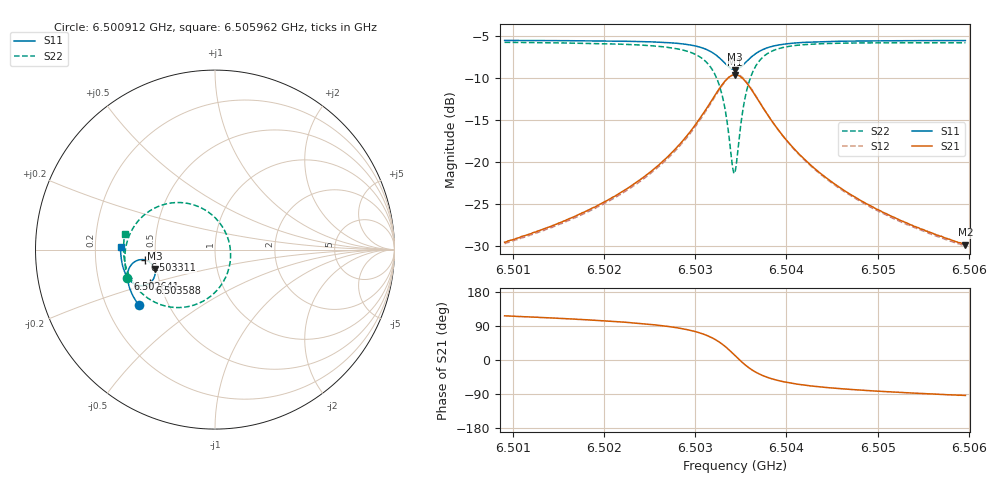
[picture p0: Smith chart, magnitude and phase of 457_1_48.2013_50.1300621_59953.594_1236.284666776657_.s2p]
#  HZ  S  RI  R  50.00
! Rohde & Schwarz Vector Network Analyzer
! Rohde-Schwarz,ZNB20-2Port,1311601062101988,3.16
! Created: UTC 3/20/2024, 11:56:34 AM
! freq[Hz]  re:S11  im:S11  re:S21  im:S21  re:S12  im:S12  re:S22  im:S22
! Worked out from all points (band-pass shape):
!   401 points, 6.500912 GHz to 6.505962 GHz, reference 50 ohm
!   highest |S21| = -9.64 dB at 6.503437 GHz (marker M1); lowest = -29.8 dB at 6.505962 GHz (marker M2)
!   |S21| within 3 dB of the highest: 6.503185 GHz to 6.50369 GHz (505.3 kHz wide, 0.00777 % of centre)
!   lowest |S11| = -9.0 dB at 6.503437 GHz (marker M3), VSWR 2.09, Z = 24.3 - j5.92 ohm
!   |S11| at or under -10 dB: nowhere
!   |S22| runs from -21.4 to -5.8 dB; largest |S21 - S12| = 0.012
!   S11 on the Smith chart (normalised r, x): 6.500912 GHz: 0.34, -0.29; 6.502641 GHz: 0.33, -0.14; 6.503311 GHz: 0.44, -0.06; 6.503588 GHz: 0.44, -0.20; 6.505962 GHz: 0.31, +0.01
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6.5009119e9  -0.4249 -0.3111  -0.0149 0.0298  -0.0133 0.0298  -0.4882 -0.1586
6.5017578e9  -0.4615 -0.2488  -0.0144 0.0476  -0.0119 0.0471  -0.5022 -0.0694
6.5022501e9  -0.4787 -0.205  -0.0112 0.0683  -0.00801 0.0671  -0.499 0.000721
6.5026036e9  -0.487 -0.1659  -0.00248 0.0961  0.00122 0.0939  -0.4804 0.0717
6.5026414e9  -0.4874 -0.1609  -0.000804 0.1005  0.00299 0.0979  -0.4767 0.0811
6.5029192e9  -0.4836 -0.1181  0.0258 0.1428  0.0296 0.1384  -0.4215 0.1669
6.5031085e9  -0.4624 -0.08  0.0798 0.1849  0.0823 0.1786  -0.3183 0.2395
6.5032221e9  -0.4298 -0.0592  0.1486 0.2025  0.1495 0.1961  -0.1944 0.2622
6.5033105e9  -0.3894 -0.0574  0.2282 0.1866  0.2285 0.1813  -0.0575 0.2222
6.5033484e9  -0.3701 -0.0651  0.2644 0.1635  0.2653 0.159  0.00274 0.1755
6.5034115e9  -0.3432 -0.0918  0.3122 0.0997  0.3152 0.0946  0.0753 0.0527
6.5034368e9  -0.3369 -0.1064  0.3227 0.0674  0.326 0.0616  0.0862 -0.00748
6.503462e9  -0.3338 -0.1221  0.3263 0.0337  0.3299 0.0266  0.0846 -0.069
6.5035251e9  -0.3409 -0.1595  0.3085 -0.0444  0.3107 -0.0545  0.0293 -0.2045
6.5035882e9  -0.3621 -0.1856  0.2655 -0.0988  0.2645 -0.1102  -0.0673 -0.2881
6.5036892e9  -0.4017 -0.201  0.1906 -0.1351  0.1853 -0.1449  -0.2178 -0.3226
6.5038534e9  -0.448 -0.1915  0.1088 -0.1322  0.1016 -0.1374  -0.3653 -0.2762
6.5040301e9  -0.4754 -0.17  0.0642 -0.1123  0.0577 -0.1144  -0.4377 -0.2113
6.5042826e9  -0.4963 -0.1401  0.0341 -0.0878  0.0292 -0.0883  -0.4813 -0.1392
6.5046487e9  -0.5115 -0.1019  0.0153 -0.0651  0.0119 -0.0648  -0.5035 -0.0665
6.5051284e9  -0.5212 -0.0575  0.00501 -0.0479  0.0027 -0.0473  -0.51 0.00137
6.5059616e9  -0.5259 0.0129  -0.00199 -0.0322  -0.00339 -0.0314  -0.5023 0.0893
